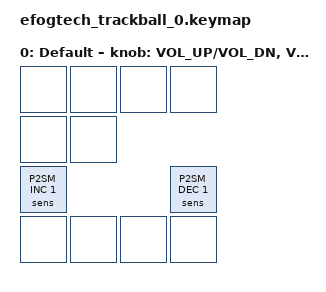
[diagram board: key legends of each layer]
#include <behaviors.dtsi>
#include <dt-bindings/zmk/keys.h>
#include <dt-bindings/zmk/pointing.h>
#include <dt-bindings/zmk/p2sm.h>

#define TWIST_MULTIPLIER   1
#define TWIST_DIVISOR      10

/ {
    keymap {
        compatible = "zmk,keymap";
        default_layer {
            display-name = "Default";
            sensor-bindings = <&inc_dec_kp C_VOL_UP C_VOL_DN &inc_dec_kp C_VOL_UP C_VOL_DN>;
            bindings = <
                &none &none &none &none
                &none &none
                &sens P2SM_INC 1 &sens P2SM_DEC 1
                &none &none &none &none
            >;
        };
    };

    trackball {
        input-processors = <&zip_scroll_scaler TWIST_MULTIPLIER TWIST_DIVISOR>,
                           <&zip_pointer_accel>, <&zip_scroll_accel>,
                           <&zip_rotate_pointer>, <&zip_rotate_scroll>,
                           <&zip_ble_report_rate_limit>;
    };
};
